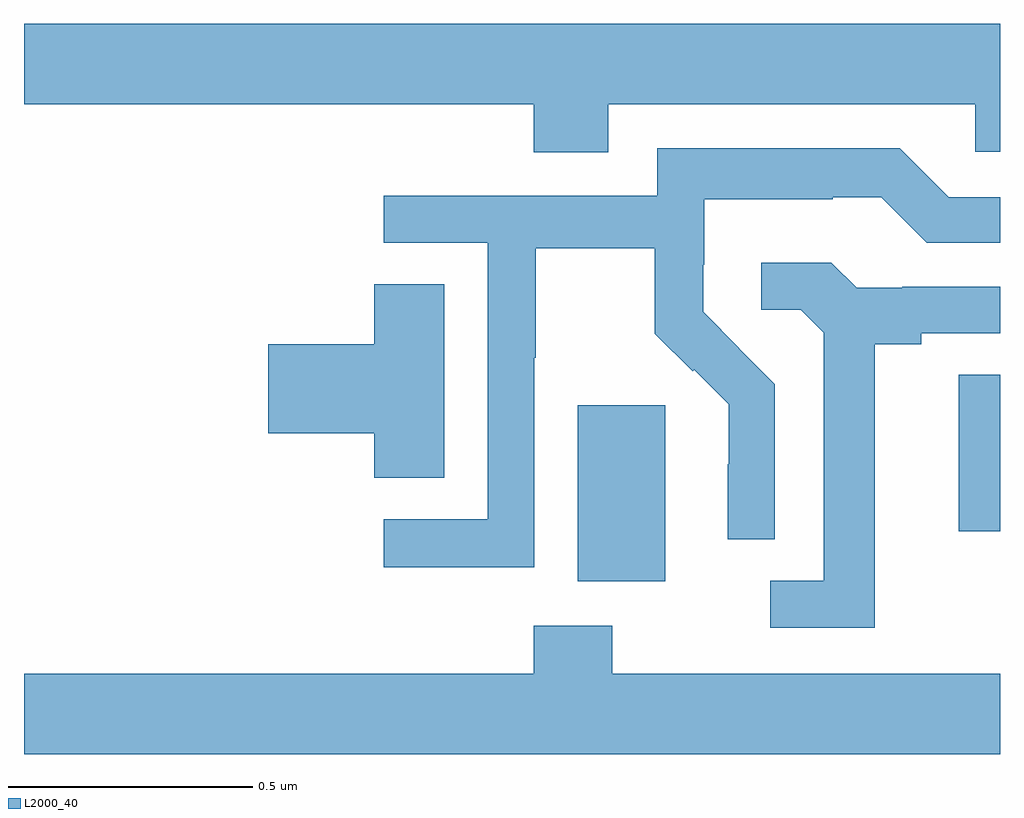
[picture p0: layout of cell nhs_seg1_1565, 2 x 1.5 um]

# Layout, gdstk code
import gdstk
lib = gdstk.Library(unit=1e-6, precision=1e-09)
def R(c, l, rs):  # rectangles x0, y0, x1, y1
    for r in rs: c.add(gdstk.rectangle(r[:2], r[2:], *l))
def P(c, l, *ps):  # polygons
    for p in ps: c.add(gdstk.Polygon(p, *l))
L2000_40 = (2000, 40)

nhs_seg1_1565 = lib.new_cell('nhs_seg1_1565')
R(nhs_seg1_1565, L2000_40, [(131.135,566.738,131.314,567.099), (131.915,566.841,132,567.161)])
P(nhs_seg1_1565, L2000_40, [(131.197,567.716),(131.949,567.716),(131.949,567.618),(132,567.618),(132,567.88),(130,567.88),(130,567.716),(131.045,567.716),(131.045,567.617),(131.197,567.617)],
  [(131.046,567.196),(131.049,567.196),(131.049,567.42),(131.293,567.42),(131.293,567.245),(131.37,567.168),(131.373,567.171),(131.444,567.101),(131.444,566.978),(131.442,566.978),(131.442,566.824),(131.538,566.824),(131.538,567.142),(131.465,567.215),(131.466,567.216),(131.392,567.29),(131.392,567.387),(131.394,567.387),(131.394,567.521),(131.657,567.521),(131.657,567.525),(131.757,567.525),(131.85,567.432),(132,567.432),(132,567.525),(131.895,567.525),(131.795,567.625),(131.298,567.625),(131.298,567.528),(130.737,567.528),(130.737,567.432),(130.95,567.432),(130.95,566.865),(130.737,566.865),(130.737,566.767),(131.046,566.767)],
  [(131.743,567.224),(131.839,567.224),(131.839,567.246),(132,567.246),(132,567.342),(131.8,567.342),(131.8,567.339),(131.706,567.339),(131.654,567.391),(131.511,567.391),(131.511,567.294),(131.592,567.294),(131.639,567.247),(131.639,566.739),(131.529,566.739),(131.529,566.643),(131.743,566.643)],
  [(130.861,567.347),(130.718,567.347),(130.718,567.224),(130.5,567.224),(130.5,567.041),(130.718,567.041),(130.718,566.95),(130.861,566.95)],
  [(132,566.548),(131.205,566.548),(131.205,566.647),(131.045,566.647),(131.045,566.548),(130,566.548),(130,566.384),(132,566.384)])

lib.write_gds('nhs_seg1_1565.gds')
